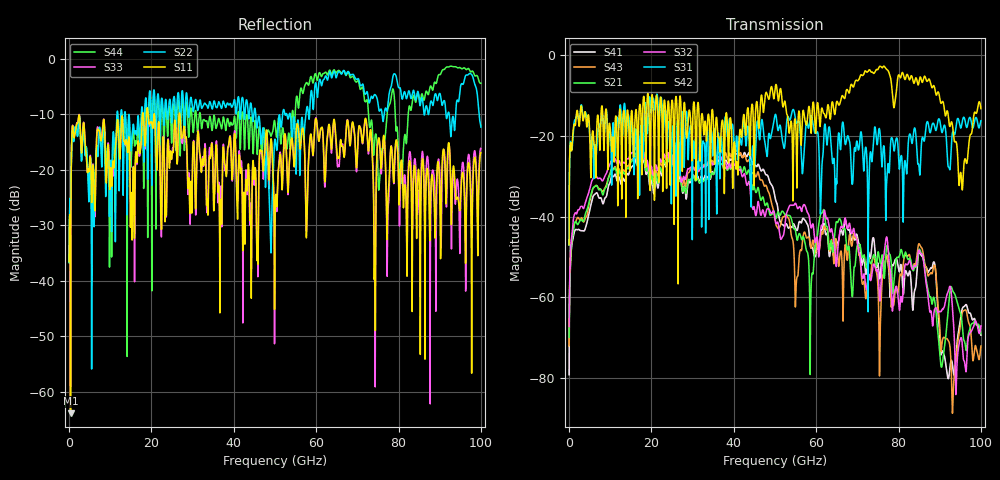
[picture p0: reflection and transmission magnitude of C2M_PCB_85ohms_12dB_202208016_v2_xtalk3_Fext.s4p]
! Info: Touchstone file created by Circ.  Input file=Intel_C2M_200G_2p5in_202208016_staggered.circ
# Hz S RI R 50
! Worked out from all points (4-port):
!   10000 points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, 10 MHz to 100 GHz, reference 50 ohm
!   strongest paths, dB at 10 MHz, 25.01 GHz, 50.01 GHz, 75.01 GHz, 100 GHz:
!     S42: -47.0, -11.2, -8.4, -3.5, -13.2
!     S31: -47.1, -21.0, -14.9, -20.6, -16.2
!     S32: -67.2, -25.4, -40.5, -53.5, -67.1
!     S21: -69.9, -26.2, -39.8, -48.8, -69.0
!     S43: -72.0, -24.9, -40.8, -57.5, -72.1
!     S41: -79.2, -25.8, -35.2, -51.5, -69.4
!   lowest |S11| = -63.8 dB at 360 MHz (marker M1), VSWR 1.00, Z = 50.1 + j0.01 ohm
!   |S11| at or under -10 dB: start of sweep to 17.81 GHz; 20.73 GHz to 26.73 GHz (5.994 GHz wide, 25.3 % of centre); 26.9 GHz to end of sweep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
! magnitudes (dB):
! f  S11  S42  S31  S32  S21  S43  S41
! 10 MHz  -36.5  -47.0  -47.1  -67.2  -69.9  -72.0  -79.2
! 360 MHz  -63.8  -21.7  -21.4  -48.3  -50.2  -50.1  -51.5
! 40.56 GHz  -20.1  -28.2  -21.1  -26.9  -26.9  -23.7  -24.5
! 55.22 GHz  -12.5  -24.4  -16.9  -37.2  -45.1  -55.9  -43.3
! 85.22 GHz  -31.4  -5.5  -29.4  -48.8  -48.3  -47.1  -49.0
! 91.95 GHz  -16.7  -14.1  -26.8  -58.9  -64.6  -70.5  -79.9
! 100 GHz  -16.9  -13.2  -16.2  -67.1  -69.0  -72.1  -69.4
